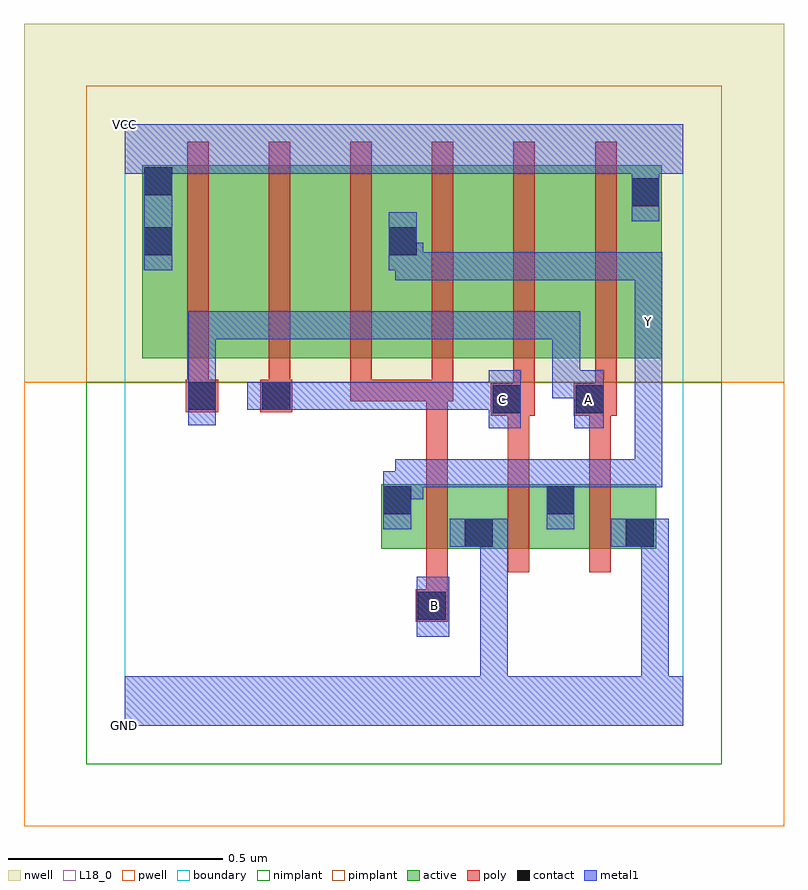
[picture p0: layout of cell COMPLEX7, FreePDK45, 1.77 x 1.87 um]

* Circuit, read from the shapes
.subckt COMPLEX7 A B C GND VCC Y
M1 GND B Y VSUBS nfet w=0.15u l=0.05u
M2 Y C GND VSUBS nfet w=0.15u l=0.05u
M3 GND A Y VSUBS nfet w=0.15u l=0.05u
M4 n1 A VCC n2 pfet w=0.45u l=0.05u
M5 n3 C n1 n2 pfet w=0.45u l=0.05u
M6 Y B n3 n2 pfet w=0.45u l=0.05u
M7 n4 B Y n2 pfet w=0.45u l=0.05u
M8 n5 C n4 n2 pfet w=0.45u l=0.05u
M9 VCC A n5 n2 pfet w=0.45u l=0.05u
.ends

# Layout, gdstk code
import gdstk
lib = gdstk.Library(unit=1e-6, precision=1e-09)
def R(c, l, rs):  # rectangles x0, y0, x1, y1
    for r in rs: c.add(gdstk.rectangle(r[:2], r[2:], *l))
def A(c, l, x, y, w, h, nx, ny, dx, dy):  # array of equal rectangles
    R(c, l, [(x+i*dx, y+j*dy, x+i*dx+w, y+j*dy+h) for i in range(nx) for j in range(ny)])
active = (1, 0)
pwell = (2, 0)
nwell = (3, 0)
nimplant = (4, 0)
pimplant = (5, 0)
poly = (9, 0)
contact = (10, 0)
metal1 = (11, 0)
L18_0 = (18, 0)
boundary = (235, 0)

complex7 = lib.new_cell('COMPLEX7')
R(complex7, active, [(0.597,0.412,0.672,0.562), (0.597,0.412,0.862,0.562), (0.787,0.412,1.052,0.562), (0.787,0.412,0.862,0.552), (0.977,0.412,1.052,0.562), (0.977,0.412,1.237,0.562), (1.162,0.412,1.237,0.562), (0.04,0.855,0.115,1.305), (0.04,0.855,0.265,1.305), (0.265,0.855,0.455,1.305), (0.455,0.855,0.685,1.305), (0.61,0.855,0.835,1.305), (0.61,0.855,0.685,1.2), (0.835,0.855,1.025,1.305), (1.025,0.855,1.25,1.305), (1.175,0.855,1.25,1.305)])
R(complex7, pwell, [(-0.235,-0.235,1.535,0.8)])
R(complex7, nwell, [(-0.235,0.8,1.535,1.635)])
R(complex7, nimplant, [(-0.09,-0.09,1.39,0.8)])
R(complex7, pimplant, [(-0.09,0.8,1.39,1.49)])
A(complex7, poly, 0.702, 0.357, 0.05, 0.26, 3, 1, 0.19, 0)
A(complex7, poly, 0.145, 0.755, 0.05, 0.095, 4, 1, 0.19, 0)
A(complex7, poly, 0.145, 0.8, 0.05, 0.56, 6, 1, 0.19, 0)
R(complex7, poly, [(0.677,0.242,0.752,0.317), (0.702,0.267,0.752,0.407), (0.702,0.567,0.752,0.805), (0.892,0.567,0.942,0.772), (1.082,0.567,1.132,0.772), (0.852,0.722,0.955,0.797), (1.045,0.722,1.145,0.797), (0.142,0.73,0.217,0.805), (0.315,0.73,0.39,0.805), (0.905,0.747,0.955,0.85), (1.095,0.747,1.145,0.85), (0.525,0.755,0.575,0.805), (0.525,0.755,0.752,0.805), (0.702,0.755,0.752,0.805), (0.702,0.755,0.752,0.805), (0.702,0.755,0.765,0.805)])
R(complex7, contact, [(0.682,0.247,0.747,0.312), (0.792,0.417,0.857,0.482), (1.167,0.417,1.232,0.482), (0.602,0.492,0.667,0.557), (0.982,0.492,1.047,0.557), (0.857,0.727,0.922,0.792), (1.05,0.727,1.115,0.792), (0.147,0.735,0.212,0.8), (0.32,0.735,0.385,0.8), (0.045,1.095,0.11,1.16), (0.615,1.095,0.68,1.16), (1.18,1.21,1.245,1.275), (0.045,1.235,0.11,1.3)])
R(complex7, metal1, [(0,0,1.3,0.115), (0.827,0.05,0.892,0.115), (0.827,0.05,0.892,0.115), (0.827,0.05,0.892,0.115), (0.827,0.05,0.892,0.115), (0.827,0.05,0.892,0.482), (1.202,0.05,1.267,0.115), (1.202,0.05,1.267,0.115), (1.202,0.05,1.267,0.482), (0.68,0.207,0.755,0.347), (0.757,0.417,0.892,0.482), (0.827,0.417,0.892,0.482), (0.827,0.417,0.892,0.482), (0.827,0.417,0.892,0.482), (0.827,0.417,0.892,0.482), (1.132,0.417,1.267,0.482), (1.202,0.417,1.267,0.482), (1.202,0.417,1.267,0.482), (1.202,0.417,1.267,0.482), (1.202,0.417,1.267,0.482), (1.202,0.417,1.267,0.482), (1.202,0.417,1.267,0.482), (0.602,0.457,0.667,0.592), (0.982,0.457,1.047,0.62), (0.602,0.527,0.695,0.592), (0.63,0.527,0.695,0.62), (0.63,0.555,0.91,0.62), (0.845,0.555,0.91,0.62), (0.845,0.555,0.91,0.62), (0.845,0.555,0.91,0.62), (0.845,0.555,1.047,0.62), (0.982,0.555,1.252,0.62), (1.187,0.555,1.252,0.62), (1.187,0.555,1.252,0.62), (1.187,0.555,1.252,0.62), (1.187,0.555,1.252,0.92), (0.847,0.692,0.922,0.827), (1.047,0.692,1.115,0.827), (0.147,0.7,0.212,0.835), (0.285,0.735,0.42,0.8), (0.355,0.735,0.42,0.8), (0.355,0.735,0.42,0.8), (0.355,0.735,0.557,0.8), (0.492,0.735,0.557,0.8), (0.492,0.735,0.557,0.8), (0.492,0.735,0.557,0.8), (0.492,0.735,0.772,0.8), (0.707,0.735,0.772,0.8), (0.707,0.735,0.817,0.8), (0.752,0.735,0.817,0.8), (0.752,0.735,0.912,0.8), (0.995,0.762,1.06,0.827), (0.995,0.762,1.112,0.827), (0.995,0.762,1.06,0.965), (0.147,0.77,0.212,0.835), (0.147,0.77,0.212,0.835), (0.147,0.77,0.212,0.965), (1.187,0.855,1.252,1.102), (0.147,0.9,0.212,0.965), (0.147,0.9,0.42,0.965), (0.355,0.9,0.42,0.965), (0.355,0.9,0.42,0.965), (0.355,0.9,0.42,0.965), (0.355,0.9,0.557,0.965), (0.492,0.9,0.557,0.965), (0.492,0.9,0.557,0.965), (0.492,0.9,0.557,0.965), (0.492,0.9,0.695,0.965), (0.63,0.9,0.695,0.965), (0.63,0.9,0.91,0.965), (0.845,0.9,0.91,0.965), (0.845,0.9,0.91,0.965), (0.845,0.9,0.91,0.965), (0.845,0.9,1.06,0.965), (0.995,0.9,1.06,0.965), (0.63,1.037,0.91,1.102), (0.63,1.037,0.695,1.125), (0.845,1.037,0.91,1.102), (0.845,1.037,0.91,1.102), (0.845,1.037,0.91,1.102), (0.845,1.037,1.06,1.102), (0.995,1.037,1.06,1.102), (0.995,1.037,1.06,1.102), (0.995,1.037,1.06,1.102), (0.995,1.037,1.252,1.102), (1.187,1.037,1.252,1.102), (1.187,1.037,1.252,1.102), (1.187,1.037,1.252,1.102), (1.187,1.037,1.252,1.102), (0.045,1.06,0.11,1.335), (0.615,1.06,0.68,1.195), (0.615,1.06,0.695,1.125), (1.18,1.175,1.245,1.31), (1.18,1.245,1.245,1.35), (0.045,1.27,0.11,1.35), (0,1.285,1.3,1.4)])
R(complex7, L18_0, [(0,0,1.3,0.115), (0.827,0.05,0.892,0.115), (0.827,0.05,0.892,0.115), (0.827,0.05,0.892,0.115), (0.827,0.05,0.892,0.115), (0.827,0.05,0.892,0.482), (1.202,0.05,1.267,0.115), (1.202,0.05,1.267,0.115), (1.202,0.05,1.267,0.482), (0.68,0.207,0.755,0.347), (0.687,0.247,0.752,0.312), (0.757,0.417,0.892,0.482), (0.827,0.417,0.892,0.482), (0.827,0.417,0.892,0.482), (0.827,0.417,0.892,0.482), (0.827,0.417,0.892,0.482), (1.132,0.417,1.267,0.482), (1.202,0.417,1.267,0.482), (1.202,0.417,1.267,0.482), (1.202,0.417,1.267,0.482), (1.202,0.417,1.267,0.482), (1.202,0.417,1.267,0.482), (1.202,0.417,1.267,0.482), (0.602,0.457,0.667,0.592), (0.982,0.457,1.047,0.62), (0.602,0.527,0.695,0.592), (0.63,0.527,0.695,0.62), (0.63,0.555,0.91,0.62), (0.845,0.555,0.91,0.62), (0.845,0.555,0.91,0.62), (0.845,0.555,0.91,0.62), (0.845,0.555,1.047,0.62), (0.982,0.555,1.252,0.62), (1.187,0.555,1.252,0.62), (1.187,0.555,1.252,0.62), (1.187,0.555,1.252,0.62), (1.187,0.555,1.252,0.92), (0.847,0.692,0.922,0.827), (1.047,0.692,1.115,0.827), (0.147,0.7,0.212,0.835), (0.847,0.727,0.912,0.792), (1.047,0.727,1.112,0.792), (0.285,0.735,0.42,0.8), (0.355,0.735,0.42,0.8), (0.355,0.735,0.42,0.8), (0.355,0.735,0.557,0.8), (0.492,0.735,0.557,0.8), (0.492,0.735,0.557,0.8), (0.492,0.735,0.557,0.8), (0.492,0.735,0.772,0.8), (0.707,0.735,0.772,0.8), (0.707,0.735,0.817,0.8), (0.752,0.735,0.817,0.8), (0.752,0.735,0.912,0.8), (0.995,0.762,1.06,0.827), (0.995,0.762,1.06,0.965), (0.995,0.762,1.112,0.827), (0.147,0.77,0.212,0.835), (0.147,0.77,0.212,0.835), (0.147,0.77,0.212,0.965), (1.187,0.855,1.252,1.102), (0.147,0.9,0.212,0.965), (0.147,0.9,0.42,0.965), (0.355,0.9,0.42,0.965), (0.355,0.9,0.42,0.965), (0.355,0.9,0.42,0.965), (0.355,0.9,0.557,0.965), (0.492,0.9,0.557,0.965), (0.492,0.9,0.557,0.965), (0.492,0.9,0.557,0.965), (0.492,0.9,0.695,0.965), (0.63,0.9,0.695,0.965), (0.63,0.9,0.91,0.965), (0.845,0.9,0.91,0.965), (0.845,0.9,0.91,0.965), (0.845,0.9,0.91,0.965), (0.845,0.9,1.06,0.965), (0.995,0.9,1.06,0.965), (1.187,0.907,1.252,0.972), (0.63,1.037,0.91,1.102), (0.63,1.037,0.695,1.125), (0.845,1.037,0.91,1.102), (0.845,1.037,0.91,1.102), (0.845,1.037,0.91,1.102), (0.845,1.037,1.06,1.102), (0.995,1.037,1.06,1.102), (0.995,1.037,1.06,1.102), (0.995,1.037,1.06,1.102), (0.995,1.037,1.252,1.102), (1.187,1.037,1.252,1.102), (1.187,1.037,1.252,1.102), (1.187,1.037,1.252,1.102), (1.187,1.037,1.252,1.102), (0.045,1.06,0.11,1.335), (0.615,1.06,0.68,1.195), (0.615,1.06,0.695,1.125), (1.18,1.175,1.245,1.31), (1.18,1.245,1.245,1.35), (0.045,1.27,0.11,1.35), (0,1.285,1.3,1.4)])
R(complex7, boundary, [(0,0,1.3,1.4)])
complex7.add(gdstk.Label('A', (1.08,0.76), layer=11, texttype=0))
complex7.add(gdstk.Label('B', (0.72,0.28), layer=11, texttype=0))
complex7.add(gdstk.Label('C', (0.88,0.76), layer=11, texttype=0))
complex7.add(gdstk.Label('Y', (1.22,0.94), layer=11, texttype=0))
complex7.add(gdstk.Label('VCC', (0,1.4), layer=11, texttype=0))
complex7.add(gdstk.Label('GND', (0,0), layer=11, texttype=0))

lib.write_gds('COMPLEX7.gds')
